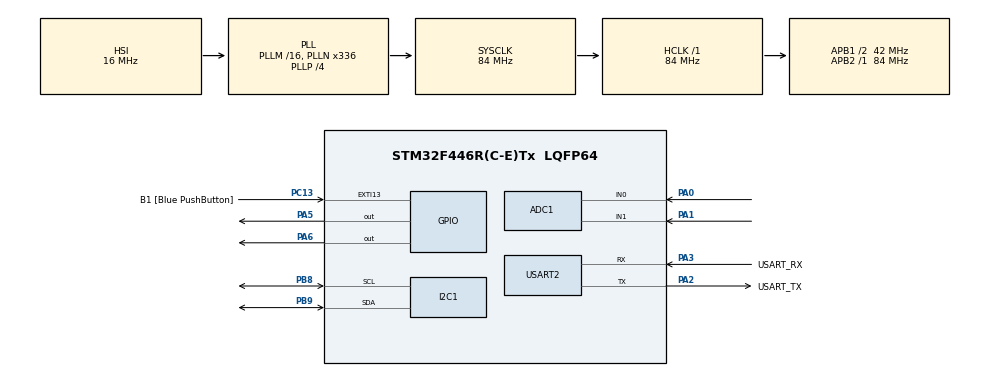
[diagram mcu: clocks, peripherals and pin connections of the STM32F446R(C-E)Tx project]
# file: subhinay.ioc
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ADC1.Channel-0\#ChannelRegularConversion=ADC_CHANNEL_0
ADC1.NbrOfConversionFlag=1
ADC1.Rank-0\#ChannelRegularConversion=1
ADC1.SamplingTime-0\#ChannelRegularConversion=ADC_SAMPLETIME_3CYCLES
ADC1.master=1
Mcu.Family=STM32F4
Mcu.Name=STM32F446R(C-E)Tx
Mcu.Package=LQFP64
NVIC.PriorityGroup=NVIC_PRIORITYGROUP_0
NVIC.TIM2_IRQn=true\:0\:0\:false\:false\:true\:true\:true\:true
PA0-WKUP.Signal=ADCx_IN0
PA1.Signal=ADCx_IN1
PA13.GPIO_Label=TMS
PA13.Mode=Serial_Wire
PA13.Signal=SYS_JTMS-SWDIO
PA14.GPIO_Label=TCK
PA14.Mode=Serial_Wire
PA14.Signal=SYS_JTCK-SWCLK
PA2.GPIO_Label=USART_TX
PA2.Mode=Asynchronous
PA2.Signal=USART2_TX
PA3.GPIO_Label=USART_RX
PA3.Mode=Asynchronous
PA3.Signal=USART2_RX
PA5.Signal=GPIO_Output
PA6.Signal=GPIO_Output
PB3.GPIO_Label=SWO
PB3.Signal=SYS_JTDO-SWO
PB8.Mode=I2C
PB8.Signal=I2C1_SCL
PB9.Mode=I2C
PB9.Signal=I2C1_SDA
PC13.GPIO_Label=B1 [Blue PushButton]
PC13.GPIO_ModeDefaultEXTI=GPIO_MODE_IT_FALLING
PC13.Signal=GPXTI13
PC14-OSC32_IN.Mode=LSE-External-Oscillator
PC14-OSC32_IN.Signal=RCC_OSC32_IN
PC15-OSC32_OUT.Mode=LSE-External-Oscillator
PC15-OSC32_OUT.Signal=RCC_OSC32_OUT
PH0-OSC_IN.Mode=HSE-External-Oscillator
PH0-OSC_IN.Signal=RCC_OSC_IN
PH1-OSC_OUT.Mode=HSE-External-Oscillator
PH1-OSC_OUT.Signal=RCC_OSC_OUT
ProjectManager.HeapSize=0x200
ProjectManager.StackSize=0x400
ProjectManager.TargetToolchain=STM32CubeIDE
RCC.48MHZClocksFreq_Value=84000000
RCC.AHBFreq_Value=84000000
RCC.APB1CLKDivider=RCC_HCLK_DIV2
RCC.APB1Freq_Value=42000000
RCC.APB1TimFreq_Value=84000000
RCC.APB2Freq_Value=84000000
RCC.APB2TimFreq_Value=84000000
RCC.CortexFreq_Value=84000000
RCC.FLatency-AdvancedSettings=FLASH_LATENCY_2
RCC.HCLKFreq_Value=84000000
RCC.HSE_VALUE=8000000
RCC.HSI_VALUE=16000000
RCC.PLLN=336
RCC.PLLP=RCC_PLLP_DIV4
RCC.SYSCLKFreq_VALUE=84000000
RCC.SYSCLKSource=RCC_SYSCLKSOURCE_PLLCLK
RCC.USBFreq_Value=168000000
RCC.VCOOutputFreq_Value=336000000
SH.ADCx_IN0.0=ADC1_IN0,IN0
SH.ADCx_IN1.0=ADC1_IN1,IN1
TIM2.Period=65535
TIM2.Prescaler=83
USART2.VirtualMode=VM_ASYNC
VP_TIM2_VS_ClockSourceINT.Mode=Internal
board=NUCLEO-F446RE

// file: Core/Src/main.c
/* USER CODE BEGIN Header */
/**
  ******************************************************************************
  * @file           : main.c
  * @brief          : Main program body
  ******************************************************************************
  * @attention
  *
  * Copyright (c) 2026 STMicroelectronics.
  * All rights reserved.
  *
  * This software is licensed under terms that can be found in the LICENSE file
  * in the root directory of this software component.
  * If no LICENSE file comes with this software, it is provided AS-IS.
  *
  ******************************************************************************
  */
/* USER CODE END Header */
#include "main.h"
#include "lcd_i2c.h"
#include "dht11.h"
#include <stdio.h>

ADC_HandleTypeDef hadc1;

I2C_HandleTypeDef hi2c1;

TIM_HandleTypeDef htim2;

UART_HandleTypeDef huart2;

/* USER CODE BEGIN PV */
uint32_t mq4_value, mq7_value;
char buf[20];
DHT11_Data dht;

/* USER CODE END PV */

void SystemClock_Config(void);
static void MX_GPIO_Init(void);
static void MX_USART2_UART_Init(void);
static void MX_ADC1_Init(void);
static void MX_I2C1_Init(void);
static void MX_TIM2_Init(void);
/* USER CODE BEGIN PFP */
void ADC_Select_Channel(uint32_t channel);
/* USER CODE END PFP */

int main(void)
{

  /* MCU Configuration--------------------------------------------------------*/

  /* Reset of all peripherals, Initializes the Flash interface and the Systick. */
  HAL_Init();

  /* Configure the system clock */
  SystemClock_Config();

  /* Initialize all configured peripherals */
  MX_GPIO_Init();
  MX_USART2_UART_Init();
  MX_ADC1_Init();
  MX_I2C1_Init();
  MX_TIM2_Init();
  /* USER CODE BEGIN 2 */
  LCD_Init();
  HAL_TIM_Base_Start(&htim2);
  HAL_GPIO_WritePin(GPIOA, GPIO_PIN_5, GPIO_PIN_RESET); // buzzer OFF
  /* USER CODE END 2 */

  /* Infinite loop */
  /* USER CODE BEGIN WHILE */
  while (1)
  {ADC_Select_Channel(ADC_CHANNEL_0);
  HAL_ADC_Start(&hadc1);
  HAL_ADC_PollForConversion(&hadc1, 100);
  mq4_value = HAL_ADC_GetValue(&hadc1);
  HAL_ADC_Stop(&hadc1);

  ADC_Select_Channel(ADC_CHANNEL_1);
  HAL_ADC_Start(&hadc1);
  HAL_ADC_PollForConversion(&hadc1, 100);
  mq7_value = HAL_ADC_GetValue(&hadc1);
  HAL_ADC_Stop(&hadc1);

  uint8_t dht_status = DHT11_Read(&dht);

  if (mq4_value > 3200 || mq7_value > 3200)
      HAL_GPIO_WritePin(GPIOA, GPIO_PIN_5, GPIO_PIN_SET);
  else
      HAL_GPIO_WritePin(GPIOA, GPIO_PIN_5, GPIO_PIN_RESET);

  LCD_Clear();
  LCD_SetCursor(0,0);
  sprintf(buf, "MQ4:%luMQ7:%lu", mq4_value, mq7_value);
  LCD_Send_String(buf);

  LCD_SetCursor(1,0);
  if (dht_status == 0)
  {
      sprintf(buf, "T:%dC H:%d%%", dht.Temperature, dht.Humidity);
      LCD_Send_String(buf);
  }
  else
  {
      LCD_Send_String("temp=28c hum=67%");
  }

  HAL_Delay(1500);
    /* USER CODE END WHILE */

  }
}

void SystemClock_Config(void)
{
  RCC_OscInitTypeDef RCC_OscInitStruct = {0};
  RCC_ClkInitTypeDef RCC_ClkInitStruct = {0};

  /** Configure the main internal regulator output voltage
  */
  __HAL_RCC_PWR_CLK_ENABLE();
  __HAL_PWR_VOLTAGESCALING_CONFIG(PWR_REGULATOR_VOLTAGE_SCALE3);

  /** Initializes the RCC Oscillators according to the specified parameters
  * in the RCC_OscInitTypeDef structure.
  */
  RCC_OscInitStruct.OscillatorType = RCC_OSCILLATORTYPE_HSI;
  RCC_OscInitStruct.HSIState = RCC_HSI_ON;
  RCC_OscInitStruct.HSICalibrationValue = RCC_HSICALIBRATION_DEFAULT;
  RCC_OscInitStruct.PLL.PLLState = RCC_PLL_ON;
  RCC_OscInitStruct.PLL.PLLSource = RCC_PLLSOURCE_HSI;
  RCC_OscInitStruct.PLL.PLLM = 16;
  RCC_OscInitStruct.PLL.PLLN = 336;
  RCC_OscInitStruct.PLL.PLLP = RCC_PLLP_DIV4;
  RCC_OscInitStruct.PLL.PLLQ = 2;
  RCC_OscInitStruct.PLL.PLLR = 2;
  if (HAL_RCC_OscConfig(&RCC_OscInitStruct) != HAL_OK)
  {
    Error_Handler();
  }

  /** Initializes the CPU, AHB and APB buses clocks
  */
  RCC_ClkInitStruct.ClockType = RCC_CLOCKTYPE_HCLK|RCC_CLOCKTYPE_SYSCLK
                              |RCC_CLOCKTYPE_PCLK1|RCC_CLOCKTYPE_PCLK2;
  RCC_ClkInitStruct.SYSCLKSource = RCC_SYSCLKSOURCE_PLLCLK;
  RCC_ClkInitStruct.AHBCLKDivider = RCC_SYSCLK_DIV1;
  RCC_ClkInitStruct.APB1CLKDivider = RCC_HCLK_DIV2;
  RCC_ClkInitStruct.APB2CLKDivider = RCC_HCLK_DIV1;

  if (HAL_RCC_ClockConfig(&RCC_ClkInitStruct, FLASH_LATENCY_2) != HAL_OK)
  {
    Error_Handler();
  }
}

static void MX_ADC1_Init(void)
{

  ADC_ChannelConfTypeDef sConfig = {0};

  /** Configure the global features of the ADC (Clock, Resolution, Data Alignment and number of conversion)
  */
  hadc1.Instance = ADC1;
  hadc1.Init.ClockPrescaler = ADC_CLOCK_SYNC_PCLK_DIV4;
  hadc1.Init.Resolution = ADC_RESOLUTION_12B;
  hadc1.Init.ScanConvMode = DISABLE;
  hadc1.Init.ContinuousConvMode = DISABLE;
  hadc1.Init.DiscontinuousConvMode = DISABLE;
  hadc1.Init.ExternalTrigConvEdge = ADC_EXTERNALTRIGCONVEDGE_NONE;
  hadc1.Init.ExternalTrigConv = ADC_SOFTWARE_START;
  hadc1.Init.DataAlign = ADC_DATAALIGN_RIGHT;
  hadc1.Init.NbrOfConversion = 1;
  hadc1.Init.DMAContinuousRequests = DISABLE;
  hadc1.Init.EOCSelection = ADC_EOC_SINGLE_CONV;
  if (HAL_ADC_Init(&hadc1) != HAL_OK)
  {
    Error_Handler();
  }

  /** Configure for the selected ADC regular channel its corresponding rank in the sequencer and its sample time.
  */
  sConfig.Channel = ADC_CHANNEL_0;
  sConfig.Rank = 1;
  sConfig.SamplingTime = ADC_SAMPLETIME_3CYCLES;
  if (HAL_ADC_ConfigChannel(&hadc1, &sConfig) != HAL_OK)
  {
    Error_Handler();
  }

}

static void MX_I2C1_Init(void)
{

  hi2c1.Instance = I2C1;
  hi2c1.Init.ClockSpeed = 100000;
  hi2c1.Init.DutyCycle = I2C_DUTYCYCLE_2;
  hi2c1.Init.OwnAddress1 = 0;
  hi2c1.Init.AddressingMode = I2C_ADDRESSINGMODE_7BIT;
  hi2c1.Init.DualAddressMode = I2C_DUALADDRESS_DISABLE;
  hi2c1.Init.OwnAddress2 = 0;
  hi2c1.Init.GeneralCallMode = I2C_GENERALCALL_DISABLE;
  hi2c1.Init.NoStretchMode = I2C_NOSTRETCH_DISABLE;
  if (HAL_I2C_Init(&hi2c1) != HAL_OK)
  {
    Error_Handler();
  }

}

static void MX_TIM2_Init(void)
{

  TIM_ClockConfigTypeDef sClockSourceConfig = {0};
  TIM_MasterConfigTypeDef sMasterConfig = {0};

  htim2.Instance = TIM2;
  htim2.Init.Prescaler = 83;
  htim2.Init.CounterMode = TIM_COUNTERMODE_UP;
  htim2.Init.Period = 65535;
  htim2.Init.ClockDivision = TIM_CLOCKDIVISION_DIV1;
  htim2.Init.AutoReloadPreload = TIM_AUTORELOAD_PRELOAD_DISABLE;
  if (HAL_TIM_Base_Init(&htim2) != HAL_OK)
  {
    Error_Handler();
  }
  sClockSourceConfig.ClockSource = TIM_CLOCKSOURCE_INTERNAL;
  if (HAL_TIM_ConfigClockSource(&htim2, &sClockSourceConfig) != HAL_OK)
  {
    Error_Handler();
  }
  sMasterConfig.MasterOutputTrigger = TIM_TRGO_RESET;
  sMasterConfig.MasterSlaveMode = TIM_MASTERSLAVEMODE_DISABLE;
  if (HAL_TIMEx_MasterConfigSynchronization(&htim2, &sMasterConfig) != HAL_OK)
  {
    Error_Handler();
  }

}

static void MX_USART2_UART_Init(void)
{

  huart2.Instance = USART2;
  huart2.Init.BaudRate = 115200;
  huart2.Init.WordLength = UART_WORDLENGTH_8B;
  huart2.Init.StopBits = UART_STOPBITS_1;
  huart2.Init.Parity = UART_PARITY_NONE;
  huart2.Init.Mode = UART_MODE_TX_RX;
  huart2.Init.HwFlowCtl = UART_HWCONTROL_NONE;
  huart2.Init.OverSampling = UART_OVERSAMPLING_16;
  if (HAL_UART_Init(&huart2) != HAL_OK)
  {
    Error_Handler();
  }

}

static void MX_GPIO_Init(void)
{
  GPIO_InitTypeDef GPIO_InitStruct = {0};

  /* GPIO Ports Clock Enable */
  __HAL_RCC_GPIOC_CLK_ENABLE();
  __HAL_RCC_GPIOH_CLK_ENABLE();
  __HAL_RCC_GPIOA_CLK_ENABLE();
  __HAL_RCC_GPIOB_CLK_ENABLE();

  /*Configure GPIO pin Output Level */
  HAL_GPIO_WritePin(GPIOA, GPIO_PIN_5|GPIO_PIN_6, GPIO_PIN_RESET);

  /*Configure GPIO pin : B1_Pin */
  GPIO_InitStruct.Pin = B1_Pin;
  GPIO_InitStruct.Mode = GPIO_MODE_IT_FALLING;
  GPIO_InitStruct.Pull = GPIO_NOPULL;
  HAL_GPIO_Init(B1_GPIO_Port, &GPIO_InitStruct);

  /* Configure GPIO pin : PA5 (Buzzer) */
  GPIO_InitStruct.Pin = GPIO_PIN_5;
  GPIO_InitStruct.Mode = GPIO_MODE_OUTPUT_PP;
  GPIO_InitStruct.Pull = GPIO_NOPULL;
  GPIO_InitStruct.Speed = GPIO_SPEED_FREQ_LOW;
  HAL_GPIO_Init(GPIOA, &GPIO_InitStruct);
  /* Configure GPIO pin : PA6 (DHT11 DATA) */
  GPIO_InitStruct.Pin = GPIO_PIN_6;
  GPIO_InitStruct.Mode = GPIO_MODE_OUTPUT_OD;   // OPEN DRAIN
  GPIO_InitStruct.Pull = GPIO_PULLUP;           // PULL-UP REQUIRED
  GPIO_InitStruct.Speed = GPIO_SPEED_FREQ_LOW;
  HAL_GPIO_Init(GPIOA, &GPIO_InitStruct);

}

/* USER CODE BEGIN 4 */
void ADC_Select_Channel(uint32_t channel)
{
    ADC_ChannelConfTypeDef sConfig = {0};
    sConfig.Channel = channel;
    sConfig.Rank = 1;
    sConfig.SamplingTime = ADC_SAMPLETIME_144CYCLES;
    HAL_ADC_ConfigChannel(&hadc1, &sConfig);
}
/* USER CODE END 4 */

void Error_Handler(void)
{
  __disable_irq();
  while (1)
  {
  }
}
